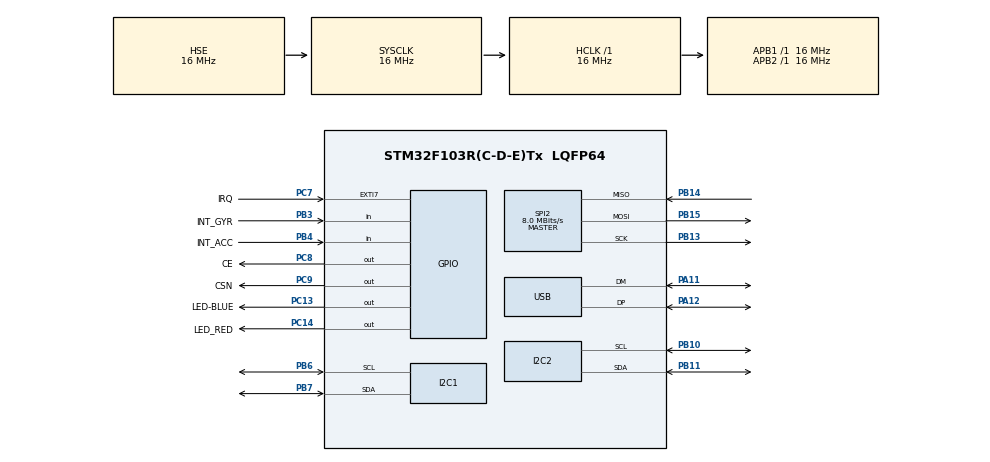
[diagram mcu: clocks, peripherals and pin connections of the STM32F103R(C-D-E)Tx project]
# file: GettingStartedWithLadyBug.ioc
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Mcu.Family=STM32F1
Mcu.Name=STM32F103R(C-D-E)Tx
Mcu.Package=LQFP64
NVIC.PriorityGroup=NVIC_PRIORITYGROUP_4
NVIC.USB_LP_CAN1_RX0_IRQn=true\:0\:0\:false\:false\:true\:false\:true\:true
PA11.Mode=Device
PA11.Signal=USB_DM
PA12.Mode=Device
PA12.Signal=USB_DP
PA13.Mode=Serial_Wire
PA13.Signal=SYS_JTMS-SWDIO
PA14.Mode=Serial_Wire
PA14.Signal=SYS_JTCK-SWCLK
PB10.Mode=I2C
PB10.Signal=I2C2_SCL
PB11.Mode=I2C
PB11.Signal=I2C2_SDA
PB13.Mode=Full_Duplex_Master
PB13.Signal=SPI2_SCK
PB14.Mode=Full_Duplex_Master
PB14.Signal=SPI2_MISO
PB15.Mode=Full_Duplex_Master
PB15.Signal=SPI2_MOSI
PB3.GPIO_Label=INT_GYR
PB3.Signal=GPIO_Input
PB4.GPIO_Label=INT_ACC
PB4.Signal=GPIO_Input
PB6.Mode=I2C
PB6.Signal=I2C1_SCL
PB7.Mode=I2C
PB7.Signal=I2C1_SDA
PC13-TAMPER-RTC.GPIO_Label=LED-BLUE
PC13-TAMPER-RTC.Signal=GPIO_Output
PC14-OSC32_IN.GPIO_Label=LED_RED
PC14-OSC32_IN.Signal=GPIO_Output
PC7.GPIO_Label=IRQ
PC7.Signal=GPXTI7
PC8.GPIO_Label=CE
PC8.Signal=GPIO_Output
PC9.GPIO_Label=CSN
PC9.Signal=GPIO_Output
PD0-OSC_IN.Mode=HSE-External-Oscillator
PD0-OSC_IN.Signal=RCC_OSC_IN
PD1-OSC_OUT.Mode=HSE-External-Oscillator
PD1-OSC_OUT.Signal=RCC_OSC_OUT
ProjectManager.HeapSize=0x200
ProjectManager.StackSize=0x400
ProjectManager.TargetToolchain=STM32CubeIDE
RCC.AHBFreq_Value=16000000
RCC.APB1Freq_Value=16000000
RCC.APB1TimFreq_Value=16000000
RCC.APB2Freq_Value=16000000
RCC.APB2TimFreq_Value=16000000
RCC.HCLKFreq_Value=16000000
RCC.HSE_VALUE=16000000
RCC.PLLMUL=RCC_PLL_MUL3
RCC.PLLSourceVirtual=RCC_PLLSOURCE_HSE
RCC.SYSCLKFreq_VALUE=16000000
RCC.SYSCLKSource=RCC_SYSCLKSOURCE_HSE
RCC.USBFreq_Value=48000000
SPI2.CalculateBaudRate=8.0 MBits/s
SPI2.Direction=SPI_DIRECTION_2LINES
SPI2.Mode=SPI_MODE_MASTER
SPI2.VirtualType=VM_MASTER
USB_DEVICE.CLASS_NAME_FS=CDC
USB_DEVICE.VirtualMode=Cdc
USB_DEVICE.VirtualModeFS=Cdc_FS
VP_USB_DEVICE_VS_USB_DEVICE_CDC_FS.Mode=CDC_FS
board=custom

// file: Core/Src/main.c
/* USER CODE BEGIN Header */
/**
  ******************************************************************************
  * @file           : main.c
  * @brief          : Main program body
  ******************************************************************************
  * @attention
  *
  * Copyright (c) 2024 STMicroelectronics.
  * All rights reserved.
  *
  * This software is licensed under terms that can be found in the LICENSE file
  * in the root directory of this software component.
  * If no LICENSE file comes with this software, it is provided AS-IS.
  *
  ******************************************************************************
  */
/* USER CODE END Header */
#include "main.h"
#include "usb_device.h"

/* USER CODE BEGIN Includes */
#include "pca9685.h"
#include "BMI088.h"
#include "usbd_cdc_if.h"
#include "LadyMoves.h"
/* USER CODE END Includes */

I2C_HandleTypeDef hi2c1;
I2C_HandleTypeDef hi2c2;

SPI_HandleTypeDef hspi2;

/* USER CODE BEGIN PV */
PCA9685 pwm;
BMI088IMU imu;
/* USER CODE END PV */

void SystemClock_Config(void);
static void MX_GPIO_Init(void);
static void MX_I2C1_Init(void);
static void MX_I2C2_Init(void);
static void MX_SPI2_Init(void);

/* USER CODE BEGIN 0 */
void where_we_stand(){
	BMI088_ReadAcc(&imu);
	BMI088_ReadGyr(&imu);
	printf("Accelerom: X=%.2f m/s^2, Y=%.2f m/s^2, Z=%.2f m/s^2\n", imu.acc[1], imu.acc[0], imu.acc[2]);

	printf("Gyroscope: X=%.2f rad/s, Y=%.2f rad/s, Z=%.2f rad/s\n", imu.gyr[1], imu.gyr[0], imu.gyr[2]);

}
/* USER CODE END 0 */

int main(void)
{
  /* USER CODE BEGIN 1 */
	int flag=1;
  /* USER CODE END 1 */

  /* MCU Configuration--------------------------------------------------------*/

  /* Reset of all peripherals, Initializes the Flash interface and the Systick. */
  HAL_Init();

  /* Configure the system clock */
  SystemClock_Config();

  /* Initialize all configured peripherals */
  MX_GPIO_Init();
  MX_I2C1_Init();
  MX_I2C2_Init();
  MX_SPI2_Init();
  MX_USB_DEVICE_Init();
  /* USER CODE BEGIN 2 */
  PCA9685_Init(&pwm, &hi2c2);
  HAL_Delay(1000);
  /*PCA9685_SetMicros(&pwm, 0, 1500); //neutral
  PCA9685_SetMicros(&pwm, 1, 1500);	//neutral
  PCA9685_SetMicros(&pwm, 2, 1500); //neutral
  PCA9685_SetMicros(&pwm, 3, 1500); //neutral
  PCA9685_SetMicros(&pwm, 4, 1500); //neutral
  PCA9685_SetMicros(&pwm, 5, 1500); //neutral
  PCA9685_SetMicros(&pwm, 6, 1500); //neutral
  PCA9685_SetMicros(&pwm, 7, 1500); //neutral
  PCA9685_SetMicros(&pwm, 8, 1500); //neutral
  PCA9685_SetMicros(&pwm, 9, 1500); //neutral
  PCA9685_SetMicros(&pwm, 10, 1500); //neutral
  PCA9685_SetMicros(&pwm, 11, 1500); //neutral
  HAL_Delay(500);*/
  HAL_GPIO_WritePin(GPIOC,GPIO_PIN_13,GPIO_PIN_SET);

  //BMI088_Init(&imu, &hi2c1, GPIOB, GPIO_PIN_4, GPIOB, GPIO_PIN_3);
  //HAL_Delay(1000);

  /* USER CODE END 2 */

  /* Infinite loop */
  while (1)
  {

    /* USER CODE BEGIN 3 */
		HAL_GPIO_WritePin(GPIOC,GPIO_PIN_13,GPIO_PIN_RESET);
		HAL_Delay(500);
		HAL_GPIO_WritePin(GPIOC,GPIO_PIN_13,GPIO_PIN_SET);
		HAL_Delay(300);
		//neutral();
		//HAL_Delay(200);
		//go_sleep();
		HAL_Delay(1000);
		if(flag){
			wakeup();
			walkfast_tripod();
			turn_left();
			circle_left();
			go_sleep();
			flag=0;
		}
		HAL_Delay(1);
  }
  /* USER CODE END 3 */
}

void SystemClock_Config(void)
{
  RCC_OscInitTypeDef RCC_OscInitStruct = {0};
  RCC_ClkInitTypeDef RCC_ClkInitStruct = {0};
  RCC_PeriphCLKInitTypeDef PeriphClkInit = {0};

  /** Initializes the RCC Oscillators according to the specified parameters
  * in the RCC_OscInitTypeDef structure.
  */
  RCC_OscInitStruct.OscillatorType = RCC_OSCILLATORTYPE_HSE;
  RCC_OscInitStruct.HSEState = RCC_HSE_ON;
  RCC_OscInitStruct.HSEPredivValue = RCC_HSE_PREDIV_DIV1;
  RCC_OscInitStruct.HSIState = RCC_HSI_ON;
  RCC_OscInitStruct.PLL.PLLState = RCC_PLL_ON;
  RCC_OscInitStruct.PLL.PLLSource = RCC_PLLSOURCE_HSE;
  RCC_OscInitStruct.PLL.PLLMUL = RCC_PLL_MUL3;
  if (HAL_RCC_OscConfig(&RCC_OscInitStruct) != HAL_OK)
  {
    Error_Handler();
  }

  /** Initializes the CPU, AHB and APB buses clocks
  */
  RCC_ClkInitStruct.ClockType = RCC_CLOCKTYPE_HCLK|RCC_CLOCKTYPE_SYSCLK
                              |RCC_CLOCKTYPE_PCLK1|RCC_CLOCKTYPE_PCLK2;
  RCC_ClkInitStruct.SYSCLKSource = RCC_SYSCLKSOURCE_HSE;
  RCC_ClkInitStruct.AHBCLKDivider = RCC_SYSCLK_DIV1;
  RCC_ClkInitStruct.APB1CLKDivider = RCC_HCLK_DIV1;
  RCC_ClkInitStruct.APB2CLKDivider = RCC_HCLK_DIV1;

  if (HAL_RCC_ClockConfig(&RCC_ClkInitStruct, FLASH_LATENCY_0) != HAL_OK)
  {
    Error_Handler();
  }
  PeriphClkInit.PeriphClockSelection = RCC_PERIPHCLK_USB;
  PeriphClkInit.UsbClockSelection = RCC_USBCLKSOURCE_PLL;
  if (HAL_RCCEx_PeriphCLKConfig(&PeriphClkInit) != HAL_OK)
  {
    Error_Handler();
  }
}

static void MX_I2C1_Init(void)
{

  hi2c1.Instance = I2C1;
  hi2c1.Init.ClockSpeed = 100000;
  hi2c1.Init.DutyCycle = I2C_DUTYCYCLE_2;
  hi2c1.Init.OwnAddress1 = 0;
  hi2c1.Init.AddressingMode = I2C_ADDRESSINGMODE_7BIT;
  hi2c1.Init.DualAddressMode = I2C_DUALADDRESS_DISABLE;
  hi2c1.Init.OwnAddress2 = 0;
  hi2c1.Init.GeneralCallMode = I2C_GENERALCALL_DISABLE;
  hi2c1.Init.NoStretchMode = I2C_NOSTRETCH_DISABLE;
  if (HAL_I2C_Init(&hi2c1) != HAL_OK)
  {
    Error_Handler();
  }

}

static void MX_I2C2_Init(void)
{

  hi2c2.Instance = I2C2;
  hi2c2.Init.ClockSpeed = 100000;
  hi2c2.Init.DutyCycle = I2C_DUTYCYCLE_2;
  hi2c2.Init.OwnAddress1 = 0;
  hi2c2.Init.AddressingMode = I2C_ADDRESSINGMODE_7BIT;
  hi2c2.Init.DualAddressMode = I2C_DUALADDRESS_DISABLE;
  hi2c2.Init.OwnAddress2 = 0;
  hi2c2.Init.GeneralCallMode = I2C_GENERALCALL_DISABLE;
  hi2c2.Init.NoStretchMode = I2C_NOSTRETCH_DISABLE;
  if (HAL_I2C_Init(&hi2c2) != HAL_OK)
  {
    Error_Handler();
  }

}

static void MX_SPI2_Init(void)
{

  /* SPI2 parameter configuration*/
  hspi2.Instance = SPI2;
  hspi2.Init.Mode = SPI_MODE_MASTER;
  hspi2.Init.Direction = SPI_DIRECTION_2LINES;
  hspi2.Init.DataSize = SPI_DATASIZE_8BIT;
  hspi2.Init.CLKPolarity = SPI_POLARITY_LOW;
  hspi2.Init.CLKPhase = SPI_PHASE_1EDGE;
  hspi2.Init.NSS = SPI_NSS_SOFT;
  hspi2.Init.BaudRatePrescaler = SPI_BAUDRATEPRESCALER_2;
  hspi2.Init.FirstBit = SPI_FIRSTBIT_MSB;
  hspi2.Init.TIMode = SPI_TIMODE_DISABLE;
  hspi2.Init.CRCCalculation = SPI_CRCCALCULATION_DISABLE;
  hspi2.Init.CRCPolynomial = 10;
  if (HAL_SPI_Init(&hspi2) != HAL_OK)
  {
    Error_Handler();
  }

}

static void MX_GPIO_Init(void)
{
  GPIO_InitTypeDef GPIO_InitStruct = {0};

  /* GPIO Ports Clock Enable */
  __HAL_RCC_GPIOC_CLK_ENABLE();
  __HAL_RCC_GPIOD_CLK_ENABLE();
  __HAL_RCC_GPIOB_CLK_ENABLE();
  __HAL_RCC_GPIOA_CLK_ENABLE();

  /*Configure GPIO pin Output Level */
  HAL_GPIO_WritePin(GPIOC, LED_BLUE_Pin|LED_RED_Pin|CE_Pin|CSN_Pin, GPIO_PIN_RESET);

  /*Configure GPIO pins : LED_BLUE_Pin LED_RED_Pin CE_Pin CSN_Pin */
  GPIO_InitStruct.Pin = LED_BLUE_Pin|LED_RED_Pin|CE_Pin|CSN_Pin;
  GPIO_InitStruct.Mode = GPIO_MODE_OUTPUT_PP;
  GPIO_InitStruct.Pull = GPIO_NOPULL;
  GPIO_InitStruct.Speed = GPIO_SPEED_FREQ_LOW;
  HAL_GPIO_Init(GPIOC, &GPIO_InitStruct);

  /*Configure GPIO pin : IRQ_Pin */
  GPIO_InitStruct.Pin = IRQ_Pin;
  GPIO_InitStruct.Mode = GPIO_MODE_IT_RISING;
  GPIO_InitStruct.Pull = GPIO_NOPULL;
  HAL_GPIO_Init(IRQ_GPIO_Port, &GPIO_InitStruct);

  /*Configure GPIO pins : INT_GYR_Pin INT_ACC_Pin */
  GPIO_InitStruct.Pin = INT_GYR_Pin|INT_ACC_Pin;
  GPIO_InitStruct.Mode = GPIO_MODE_INPUT;
  GPIO_InitStruct.Pull = GPIO_NOPULL;
  HAL_GPIO_Init(GPIOB, &GPIO_InitStruct);

}

/* USER CODE BEGIN 4 */
//Switch printf() to Serial Monitor COM Port
int _write(int file, char *ptr, int len) {
    CDC_Transmit_FS((uint8_t*) ptr, len); return len;
}
/* USER CODE END 4 */

void Error_Handler(void)
{
  __disable_irq();
  while (1)
  {
  }
}
